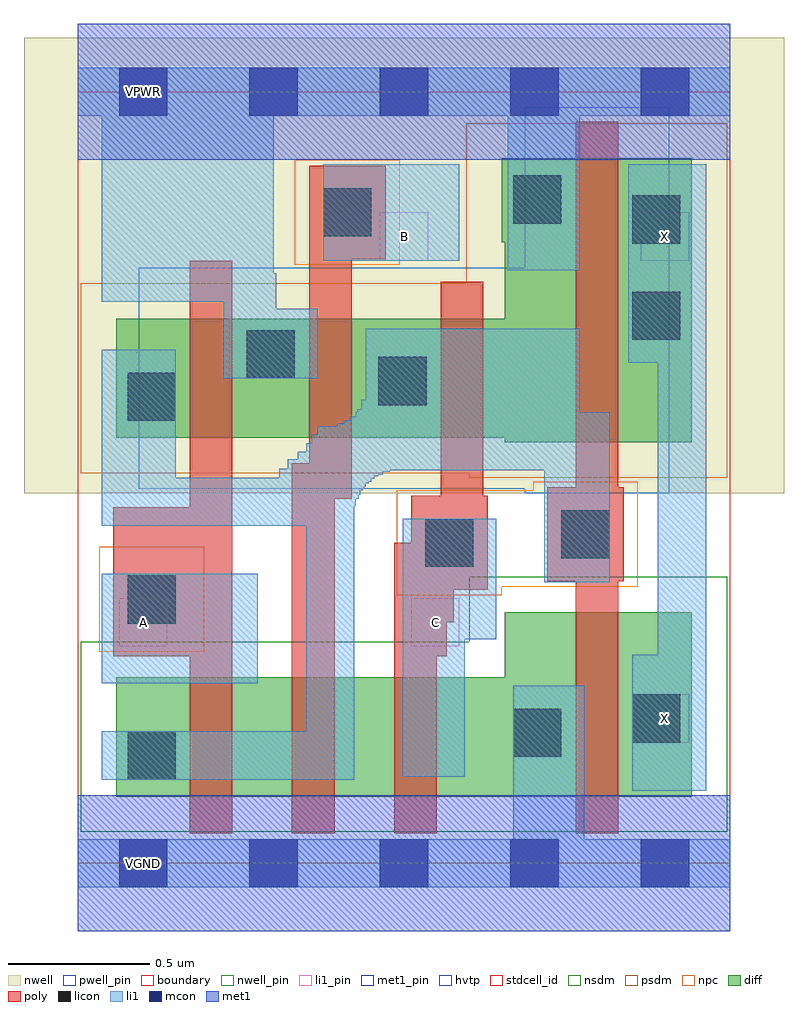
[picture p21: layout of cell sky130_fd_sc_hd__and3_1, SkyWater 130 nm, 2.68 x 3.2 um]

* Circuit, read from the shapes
.subckt sky130_fd_sc_hd__and3_1 A B C VGND VNB VPB VPWR X
XM1 n1 A n2 VNB sky130_fd_pr__nfet_01v8 w=0.42 l=0.15
XM2 n3 B n1 VNB sky130_fd_pr__nfet_01v8 w=0.42 l=0.15
XM3 VGND C n3 VNB sky130_fd_pr__nfet_01v8 w=0.42 l=0.15
XM4 X n2 VGND VNB sky130_fd_pr__nfet_01v8 w=0.65 l=0.15
XM5 VPWR A n2 VPB sky130_fd_pr__pfet_01v8_hvt w=0.42 l=0.15
XM6 n2 B VPWR VPB sky130_fd_pr__pfet_01v8_hvt w=0.42 l=0.15
XM7 VPWR C n2 VPB sky130_fd_pr__pfet_01v8_hvt w=0.42 l=0.15
XM8 X n2 VPWR VPB sky130_fd_pr__pfet_01v8_hvt w=1 l=0.15
.ends

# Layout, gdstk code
import gdstk
lib = gdstk.Library(unit=1e-6, precision=1e-09)
def R(c, l, rs):  # rectangles x0, y0, x1, y1
    for r in rs: c.add(gdstk.rectangle(r[:2], r[2:], *l))
def A(c, l, x, y, w, h, nx, ny, dx, dy):  # array of equal rectangles
    R(c, l, [(x+i*dx, y+j*dy, x+i*dx+w, y+j*dy+h) for i in range(nx) for j in range(ny)])
nwell_pin = (64, 16)
nwell = (64, 20)
diff = (65, 20)
poly = (66, 20)
licon = (66, 44)
li1_pin = (67, 16)
li1 = (67, 20)
mcon = (67, 44)
met1_pin = (68, 16)
met1 = (68, 20)
hvtp = (78, 44)
stdcell_id = (81, 4)
nsdm = (93, 44)
psdm = (94, 20)
npc = (95, 20)
pwell_pin = (122, 16)
boundary = (235, 4)

sky130_fd_sc_hd__and3_1 = lib.new_cell('sky130_fd_sc_hd__and3_1')
R(sky130_fd_sc_hd__and3_1, nwell_pin, [(0.145,2.635,0.315,2.805)])
R(sky130_fd_sc_hd__and3_1, nwell, [(-0.19,1.305,2.49,2.91)])
R(sky130_fd_sc_hd__and3_1, diff, [(0.135,0.235,2.165,0.655), (1.505,0.655,2.165,0.885), (1.505,1.485,2.165,1.5), (0.135,1.5,2.165,1.92), (1.505,1.92,2.165,2.19), (1.495,2.19,2.165,2.485)])
R(sky130_fd_sc_hd__and3_1, poly, [(0.395,0.105,0.545,0.73), (0.755,0.105,0.905,1.285), (1.115,0.105,1.265,0.73), (1.755,0.105,1.905,0.995), (0.125,0.73,0.545,1.255), (1.115,0.73,1.3,0.85), (1.115,0.85,1.325,0.965), (1.115,0.965,1.445,1.13), (1.655,0.995,1.925,1.325), (1.175,1.13,1.445,1.295), (0.395,1.255,0.545,2.125), (0.755,1.285,0.965,1.41), (1.28,1.295,1.43,2.05), (1.755,1.325,1.905,2.615), (0.815,1.41,0.965,2.13), (0.815,2.13,1.085,2.46)])
R(sky130_fd_sc_hd__and3_1, licon, [(0.175,0.295,0.345,0.465), (1.535,0.375,1.705,0.545), (1.955,0.425,2.125,0.595), (0.175,0.845,0.345,1.015), (1.225,1.045,1.395,1.215), (1.705,1.075,1.875,1.245), (0.175,1.56,0.345,1.73), (1.06,1.615,1.23,1.785), (0.595,1.71,0.765,1.88), (1.955,1.845,2.125,2.015), (1.955,2.185,2.125,2.355), (0.865,2.21,1.035,2.38), (1.535,2.255,1.705,2.425)])
R(sky130_fd_sc_hd__and3_1, li1_pin, [(1.985,0.425,2.155,0.595), (0.145,0.765,0.315,0.935), (1.175,0.765,1.345,0.935), (1.065,2.125,1.235,2.295), (1.985,2.125,2.155,2.295)])
R(sky130_fd_sc_hd__and3_1, li1, [(0,-0.085,2.3,0.085), (1.535,0.085,1.785,0.625), (1.955,0.255,2.215,0.735), (0.085,0.295,0.975,0.465), (1.145,0.305,1.365,0.79), (0.805,0.465,0.975,1.19), (0.085,0.635,0.635,1.02), (2.045,0.735,2.215,1.765), (1.145,0.79,1.475,1.215), (1.645,0.99,1.875,1.385), (0.085,1.19,0.975,1.26), (0.085,1.26,0.98,1.285), (0.085,1.285,0.99,1.3), (0.085,1.3,0.995,1.315), (0.085,1.315,1.005,1.32), (0.085,1.32,1.01,1.33), (0.085,1.33,1.015,1.34), (0.085,1.34,1.025,1.345), (0.085,1.345,1.035,1.355), (0.085,1.355,1.045,1.36), (0.085,1.36,0.345,1.81), (0.71,1.36,1.045,1.365), (0.71,1.365,1.06,1.37), (0.71,1.37,1.075,1.38), (0.71,1.38,1.1,1.385), (0.71,1.385,1.875,1.39), (0.74,1.39,1.875,1.425), (0.775,1.425,1.875,1.45), (0.805,1.45,1.875,1.48), (0.825,1.48,1.875,1.51), (0.845,1.51,1.875,1.54), (0.915,1.54,1.875,1.55), (0.94,1.55,1.875,1.56), (0.96,1.56,1.875,1.575), (0.98,1.575,1.875,1.59), (0.985,1.59,1.77,1.6), (1,1.6,1.77,1.635), (1.015,1.635,1.77,1.885), (0.515,1.71,0.845,1.955), (1.94,1.765,2.215,2.465), (0.515,1.955,0.7,1.98), (0.085,1.98,0.7,2.08), (0.085,2.08,0.69,2.635), (1.515,2.09,1.77,2.635), (0.865,2.125,1.345,2.465), (0,2.635,2.3,2.805)])
A(sky130_fd_sc_hd__and3_1, mcon, 0.145, -0.085, 0.17, 0.17, 5, 2, 0.46, 2.72)
R(sky130_fd_sc_hd__and3_1, met1_pin, [(0.145,-0.085,0.315,0.085), (0.145,2.635,0.315,2.805)])
R(sky130_fd_sc_hd__and3_1, met1, [(0,-0.24,2.3,0.24), (0,2.48,2.3,2.96)])
R(sky130_fd_sc_hd__and3_1, hvtp, [(1.575,1.305,2.085,1.32), (0.215,1.32,2.085,2.1), (1.575,2.1,2.085,2.665)])
R(sky130_fd_sc_hd__and3_1, stdcell_id, [(0,0,2.3,2.72)])
R(sky130_fd_sc_hd__and3_1, nsdm, [(0.01,0.11,2.29,0.78), (1.38,0.78,2.29,1.01)])
R(sky130_fd_sc_hd__and3_1, psdm, [(1.38,1.36,2.29,1.375), (0.01,1.375,2.29,2.045), (1.37,2.045,2.29,2.61)])
R(sky130_fd_sc_hd__and3_1, npc, [(0.075,0.745,0.445,1.115), (1.125,0.945,1.495,0.975), (1.125,0.975,1.975,1.315), (1.605,1.315,1.975,1.345), (0.765,2.11,1.135,2.48)])
R(sky130_fd_sc_hd__and3_1, pwell_pin, [(0.145,-0.085,0.315,0.085)])
R(sky130_fd_sc_hd__and3_1, boundary, [(0,0,2.3,2.72)])
sky130_fd_sc_hd__and3_1.add(gdstk.Label('VGND', (0.23,0), layer=68, texttype=5))
sky130_fd_sc_hd__and3_1.add(gdstk.Label('VPWR', (0.23,2.72), layer=68, texttype=5))
sky130_fd_sc_hd__and3_1.add(gdstk.Label('X', (2.07,0.51), layer=67, texttype=5))
sky130_fd_sc_hd__and3_1.add(gdstk.Label('X', (2.07,2.21), layer=67, texttype=5))
sky130_fd_sc_hd__and3_1.add(gdstk.Label('B', (1.15,2.21), layer=67, texttype=5))
sky130_fd_sc_hd__and3_1.add(gdstk.Label('A', (0.23,0.85), layer=67, texttype=5))
sky130_fd_sc_hd__and3_1.add(gdstk.Label('C', (1.26,0.85), layer=67, texttype=5))
sky130_fd_sc_hd__and3_1.add(gdstk.Label('VPB', (0.23,2.72), layer=64, texttype=5))
sky130_fd_sc_hd__and3_1.add(gdstk.Label('VNB', (0.23,0), layer=64, texttype=59))

lib.write_gds('sky130_fd_sc_hd__and3_1.gds')
